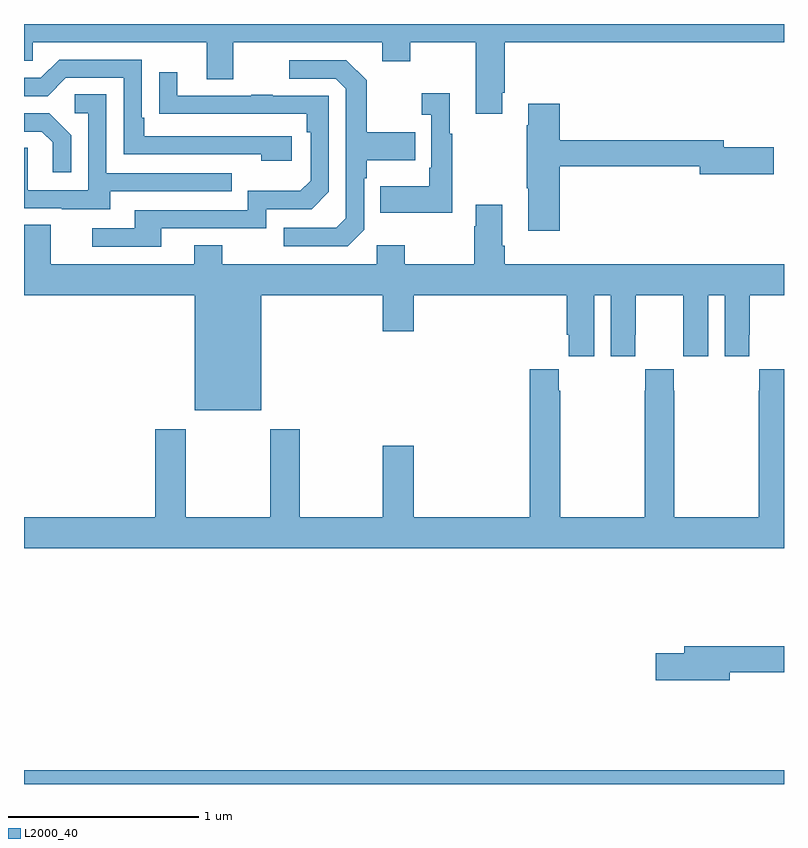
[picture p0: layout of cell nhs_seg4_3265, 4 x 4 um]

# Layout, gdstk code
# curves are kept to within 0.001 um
import gdstk
lib = gdstk.Library(unit=1e-6, precision=1e-09)
def R(c, l, rs):  # rectangles x0, y0, x1, y1
    for r in rs: c.add(gdstk.rectangle(r[:2], r[2:], *l))
def P(c, l, *ps):  # polygons
    for p in ps: c.add(gdstk.Polygon(p, *l))
L2000_40 = (2000, 40)

nhs_seg4_3265 = lib.new_cell('nhs_seg4_3265')
R(nhs_seg4_3265, L2000_40, [(283,808.9,287,808.972)])
P(nhs_seg4_3265, L2000_40, [(285.517,812.539),(285.53,812.539),(285.53,812.804),(287,812.804),(287,812.9),(283,812.9),(283,812.706),(283.047,812.706),(283.047,812.804),(283.961,812.804),(283.961,812.61),(284.101,812.61),(284.101,812.804),(284.885,812.804),(284.885,812.705),(285.033,812.705),(285.033,812.804),(285.377,812.804),(285.377,812.427),(285.517,812.427)],
  [(284.41,812.31),(283.633,812.31),(283.633,812.407),(283.62,812.407),(283.62,812.712),(283.185,812.712),(283.089,812.616),(283,812.616),(283,812.52),(283.125,812.52),(283.221,812.616),(283.524,812.616),(283.524,812.214),(284.249,812.214),(284.249,812.18),(284.41,812.18)],
  [(284.79,811.818),(284.79,812.087),(284.803,812.087),(284.803,812.183),(285.059,812.183),(285.059,812.331),(284.803,812.331),(284.803,812.603),(284.697,812.709),(284.397,812.709),(284.397,812.613),(284.64,812.613),(284.694,812.559),(284.694,811.878),(284.643,811.827),(284.367,811.827),(284.367,811.731),(284.703,811.731)],
  [(283.723,811.824),(284.274,811.824),(284.274,811.926),(284.514,811.926),(284.604,812.016),(284.604,812.523),(284.309,812.523),(284.309,812.528),(284.197,812.528),(284.197,812.523),(283.807,812.523),(283.807,812.647),(283.711,812.647),(283.711,812.428),(284.488,812.427),(284.488,812.33),(284.508,812.33),(284.508,812.076),(284.455,812.023),(284.178,812.023),(284.178,811.92),(283.583,811.92),(283.583,811.824),(283.359,811.824),(283.359,811.728),(283.723,811.728)],
  [(285.253,812.323),(285.241,812.323),(285.241,812.536),(285.093,812.536),(285.093,812.423),(285.144,812.423),(285.144,812.143),(285.132,812.143),(285.132,812.047),(284.875,812.047),(284.875,811.907),(285.253,811.907)],
  [(283.453,812.019),(284.093,812.019),(284.093,812.115),(283.434,812.115),(283.434,812.531),(283.266,812.531),(283.266,812.43),(283.338,812.43),(283.338,812.025),(283.02,812.025),(283.02,812.249),(283,812.249),(283,811.929),(283.199,811.929),(283.199,811.925),(283.453,811.925)],
  [(285.821,812.152),(286.556,812.152),(286.556,812.11),(286.945,812.11),(286.945,812.252),(286.684,812.252),(286.684,812.288),(285.821,812.288),(285.821,812.479),(285.653,812.479),(285.653,812.366),(285.646,812.366),(285.646,812.035),(285.653,812.035),(285.653,811.812),(285.821,811.812)],
  [(283.248,812.314),(283.132,812.43),(283,812.43),(283,812.334),(283.094,812.334),(283.151,812.277),(283.151,812.121),(283.248,812.121)],
  [(283.895,811.636),(283.141,811.636),(283.141,811.844),(283.001,811.844),(283.001,811.636),(283,811.636),(283,811.472),(283.898,811.472),(283.898,810.866),(284.248,810.866),(284.248,811.472),(284.888,811.472),(284.888,811.284),(285.052,811.284),(285.052,811.472),(285.857,811.472),(285.857,811.264),(285.866,811.264),(285.866,811.152),(286,811.152),(286,811.472),(286.088,811.472),(286.088,811.152),(286.218,811.152),(286.218,811.264),(286.219,811.264),(286.219,811.472),(286.469,811.472),(286.469,811.264),(286.47,811.264),(286.47,811.152),(286.6,811.152),(286.6,811.472),(286.688,811.472),(286.688,811.152),(286.818,811.152),(286.818,811.264),(286.819,811.264),(286.819,811.472),(287,811.472),(287,811.636),(285.53,811.636),(285.53,811.732),(285.517,811.732),(285.517,811.948),(285.377,811.948),(285.377,811.835),(285.37,811.835),(285.37,811.636),(285.003,811.636),(285.003,811.735),(284.856,811.735),(284.856,811.636),(284.043,811.636),(284.043,811.735),(283.895,811.735)],
  [(287,811.084),(286.869,811.084),(286.869,810.971),(286.867,810.971),(286.867,810.304),(286.422,810.304),(286.422,810.971),(286.419,810.971),(286.419,811.084),(286.269,811.084),(286.269,810.971),(286.267,810.971),(286.267,810.304),(285.822,810.304),(285.822,810.971),(285.815,810.971),(285.815,811.084),(285.662,811.084),(285.662,810.304),(285.052,810.304),(285.052,810.679),(284.888,810.679),(284.888,810.304),(284.451,810.304),(284.451,810.766),(284.296,810.766),(284.296,810.304),(283.851,810.304),(283.851,810.766),(283.691,810.766),(283.691,810.304),(283,810.304),(283,810.14),(287,810.14)],
  [(286.714,809.488),(287,809.488),(287,809.624),(286.475,809.624),(286.475,809.588),(286.326,809.588),(286.326,809.446),(286.714,809.446)])

lib.write_gds('nhs_seg4_3265.gds')
